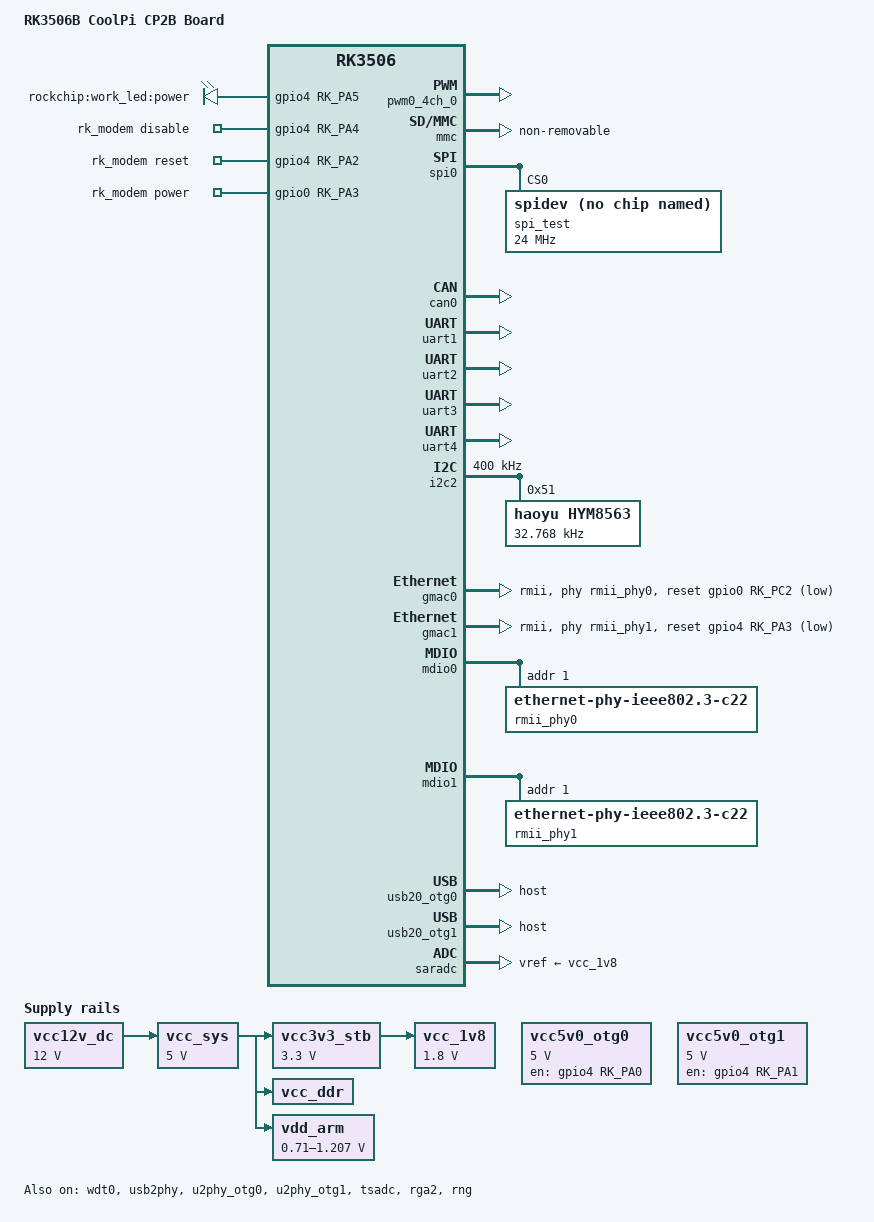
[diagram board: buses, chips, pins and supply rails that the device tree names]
// SPDX-License-Identifier: (GPL-2.0+ OR MIT)
/*
 * Copyright (c) 2024 Rockchip Electronics Co., Ltd.
 */

/dts-v1/;

#include "rk3506.dtsi"
#include <dt-bindings/display/drm_mipi_dsi.h>
#include <dt-bindings/input/rk-input.h>
#include <dt-bindings/suspend/rockchip-rk3506.h>


/ {
	model = "RK3506B CoolPi CP2B  Board";
	compatible = "rockchip,rk3506b-cp2b", "rockchip,rk3506";
	
	chosen {
		bootargs = "console=ttyFIQ0";
	};
	
	leds {
		compatible = "gpio-leds";

		red-led {
			default-state = "on";
			gpios = <&gpio4 RK_PA5 GPIO_ACTIVE_HIGH>;
			label = "rockchip:work_led:power";
			linux,default-trigger = "heartbeat";
		};
	};
	
	vcc12v_dc: vcc12v-dc {
		compatible = "regulator-fixed";
		regulator-name = "vcc12v_dc";
		regulator-always-on;
		regulator-boot-on;
		regulator-min-microvolt = <12000000>;
		regulator-max-microvolt = <12000000>;
	};

	vcc_sys: vcc-sys {
		compatible = "regulator-fixed";
		regulator-name = "vcc_sys";
		regulator-always-on;
		regulator-boot-on;
		regulator-min-microvolt = <5000000>;
		regulator-max-microvolt = <5000000>;
		vin-supply = <&vcc12v_dc>;
	};

	vcc3v3_stb: vcc3v3-stb {
		compatible = "regulator-fixed";
		regulator-name = "vcc3v3_stb";
		regulator-always-on;
		regulator-boot-on;
		regulator-min-microvolt = <3300000>;
		regulator-max-microvolt = <3300000>;
		vin-supply = <&vcc_sys>;
	};

	vcc_1v8: vcc-1v8 {
		compatible = "regulator-fixed";
		regulator-name = "vcc_1v8";
		regulator-always-on;
		regulator-boot-on;
		regulator-min-microvolt = <1800000>;
		regulator-max-microvolt = <1800000>;
		vin-supply = <&vcc3v3_stb>;
	};

	vcc_ddr: vcc-ddr {
		compatible = "regulator-fixed";
		regulator-name = "vcc_ddr";
		regulator-always-on;
		regulator-boot-on;
		vin-supply = <&vcc_sys>;
	};

	vdd_arm: vdd-arm {
		compatible = "pwm-regulator";
		pwms = <&pwm0_4ch_0 0 5000 1>;
		regulator-name = "vdd_arm";
		regulator-min-microvolt = <710000>;
		regulator-max-microvolt = <1207000>;
		regulator-init-microvolt = <1011000>;
		regulator-always-on;
		regulator-boot-on;
		regulator-settling-time-up-us = <250>;
		pwm-supply = <&vcc_sys>;
	};

	vcc5v0_otg0: vcc5v0-otg0-regulator {
		compatible = "regulator-fixed";
		regulator-name = "vcc5v0_otg0";
		regulator-min-microvolt = <5000000>;
		regulator-max-microvolt = <5000000>;
		enable-active-high;
		gpio = <&gpio4 RK_PA0 GPIO_ACTIVE_HIGH>;
	};

	vcc5v0_otg1: vcc5v0-otg1-regulator {
		compatible = "regulator-fixed";
		regulator-name = "vcc5v0_otg1";
		regulator-boot-on;
		regulator-always-on;
		regulator-min-microvolt = <5000000>;
		regulator-max-microvolt = <5000000>;
		enable-active-high;
		gpio = <&gpio4 RK_PA1 GPIO_ACTIVE_HIGH>;
	};
	
	rk_modem: rk-modem {
		compatible="4g-modem-platdata";
		pinctrl-names = "default";
		pinctrl-0 = <&lte_power_en &wifi_pwr>;
		4G,disable-gpio  = <&gpio4 RK_PA4 GPIO_ACTIVE_HIGH>;
		4G,reset-gpio    = <&gpio4 RK_PA2 GPIO_ACTIVE_HIGH>;
		4G,power-gpio    = <&gpio0 RK_PA3 GPIO_ACTIVE_HIGH>;
		status = "okay";
	};
	
	fiq_debugger: fiq-debugger {
		compatible = "rockchip,fiq-debugger";
		rockchip,serial-id = <0>;
		rockchip,wake-irq = <0>;
		rockchip,irq-mode-enable = <1>;
		rockchip,baudrate = <115200>;	/* Only 115200 and 1500000 */
		interrupts = <GIC_SPI 115 IRQ_TYPE_LEVEL_HIGH>;
	};
};

&cma {
	size = <0x800000>;
};

&cpu0 {
	cpu-supply = <&vdd_arm>;
};

&wdt0{
	status = "okay";
};

&pwm0_4ch_0 {
	pinctrl-names = "active";
	pinctrl-0 = <&rm_io21_pwm0_ch0>;
	status = "okay";
};

&mmc {
	cap-sd-highspeed;
	cap-mmc-highspeed;
	no-sd;
	no-sdio;
	pinctrl-names = "default";
	pinctrl-0 = <&sdmmc_clk_pins &sdmmc_cmd_pins &sdmmc_bus4_pins>;
	non-removable;
	mmc-hs200-1_8v;
	status = "okay";
};

&spi0 {
	status = "okay";
	max-freq = <24000000>;
	pinctrl-0 = <&rm_io8_spi0_clk &rm_io9_spi0_mosi &rm_io10_spi0_miso &rm_io11_spi0_csn0>;
	num-cs = <1>;
	
	spi_test@0 {
		compatible = "rockchip,spidev";
		reg = <0>; //片选0或者1
		spi-cpha; //设置 CPHA = 1，不配置则为 0
		spi-cpol; //设置 CPOL = 1，不配置则为 0
		spi-lsb-first; //IO 先传输 lsb
		spi-max-frequency = <24000000>; //spi clk输出的时钟
	};
};

&can0 {
	assigned-clocks = <&cru CLK_CAN0>;
	assigned-clock-rates = <300000000>;
	pinctrl-0 = <&rm_io26_can0_tx &rm_io25_can0_rx>;
	pinctrl-names = "default";
	rockchip,rx-max-data = <4>;
	status = "okay";
};

&uart1 {
	pinctrl-names = "default";
	pinctrl-0 = <&rm_io17_uart1_tx &rm_io16_uart1_rx>;
	status = "okay";
};

&uart2 {
	pinctrl-names = "default";
	pinctrl-0 = <&rm_io2_uart2_tx &rm_io0_uart2_rx>;
	status = "okay";
};

&uart3 {
	pinctrl-names = "default";
	pinctrl-0 = <&rm_io14_uart3_tx &rm_io15_uart3_rx>;
	status = "okay";
};

&uart4 {
	pinctrl-names = "default";
	pinctrl-0 = <&rm_io31_uart4_tx &rm_io30_uart4_rx>;
	status = "okay";
};

&i2c2 {
	clock-frequency = <400000>;
	pinctrl-names = "default";
	pinctrl-0 = <&rm_io4_i2c2_scl &rm_io5_i2c2_sda>;
	status = "okay";
	
	hym8563: hym8563@51 {
		compatible = "haoyu,hym8563";
		reg = <0x51>;
		#clock-cells = <0>;
		clock-frequency = <32768>;
		clock-output-names = "hym8563";
		status = "okay";
	};
};

&gmac0 {
	phy-mode = "rmii";
	clock_in_out = "output";

	snps,reset-gpio = <&gpio0 RK_PC2 GPIO_ACTIVE_LOW>;
	snps,reset-active-low;
	snps,reset-delays-us = <0 20000 100000>;

	pinctrl-names = "default";
	pinctrl-0 = <&eth_rmii0_miim_pins
		     &eth_rmii0_tx_bus2_pins
		     &eth_rmii0_rx_bus2_pins
		     &eth_rmii0_clk_pins>;

	phy-handle = <&rmii_phy0>;
	status = "okay";
};

&gmac1 {
	phy-mode = "rmii";
	clock_in_out = "output";

	snps,reset-gpio = <&gpio4 RK_PA3 GPIO_ACTIVE_LOW>;
	snps,reset-active-low;
	snps,reset-delays-us = <0 20000 100000>;

	pinctrl-names = "default";
	pinctrl-0 = <&eth_rmii1_miim_pins
		     &eth_rmii1_tx_bus2_pins
		     &eth_rmii1_rx_bus2_pins
		     &eth_rmii1_clk_pins>;

	phy-handle = <&rmii_phy1>;
	status = "okay";
};

&mdio0 {
	rmii_phy0: phy@1 {
		compatible = "ethernet-phy-ieee802.3-c22";
		reg = <0x1>;
	};
};

&mdio1 {
	rmii_phy1: phy@1 {
		compatible = "ethernet-phy-ieee802.3-c22";
		reg = <0x1>;
	};
};

&usb2phy {
	status = "okay";
};

&u2phy_otg0 {
	/* Only switch date-role manually */
	vbus-supply = <&vcc5v0_otg0>;
	status = "okay";
};

&usb20_otg0 {
	dr_mode = "host";
	status = "okay";
};

&u2phy_otg1 {
	phy-supply = <&vcc5v0_otg1>;
	status = "okay";
};

&usb20_otg1 {
	dr_mode = "host";
	status = "okay";
};

&saradc {
	vref-supply = <&vcc_1v8>;
	status = "okay";
};

&tsadc {
	status = "okay";
};

&rga2 {
	status = "okay";
};

&rng {
	status = "okay";
};

&rockchip_suspend {
	rockchip,sleep-mode-config = <
		(0
		| RKPM_ARMOFF_DDRPD
		| RKPM_24M_OSC_DIS
		| RKPM_32K_CLK
		| RKPM_32K_SRC_RC
		| RKPM_PWM0_CH0_REGULATOR
		)
	>;

	rockchip,apios-suspend = <
		(0
		| RKPM_PWREN_CORE_GPIO0A2 | RKPM_PWREN_CORE_ACT_LOW
		| RKPM_PWREN_SLEEP_GPIO0A0 | RKPM_PWREN_SLEEP_ACT_LOW
		)
	>;

#define GPIO0_IOC_GPIO0A_PULL_REG	0xff950200
#define GPIO0_IOC_GPIO0B_PULL_REG	0xff950204
#define GPIO0_IOC_GPIO0C_PULL_REG	0xff950208
#define GPIO0A3_PULL_DOWN		0x00c00080
#define GPIO0B0_PULL_DOWN		0x00030002
#define GPIO0C5_PULL_DOWN		0x0c000800

	/* Note: support max 16 pairs */
	rockchip,sleep-io-config = <
		GPIO0_IOC_GPIO0C_PULL_REG GPIO0C5_PULL_DOWN /* PWM0_CH0_CPU */
		GPIO0_IOC_GPIO0A_PULL_REG GPIO0A3_PULL_DOWN /* PWM0_CH2_LCD_BL */
		GPIO0_IOC_GPIO0B_PULL_REG GPIO0B0_PULL_DOWN /* SAI1_MCLK */
	>;
};

&pinctrl {
/*	usb {
		vcc5v0_otg0_en: vcc5v0-otg0-en {
			rockchip,pins = <4 RK_PA0 RK_FUNC_GPIO &pcfg_pull_none>;
		};

		vcc5v0_otg1_en: vcc5v0-otg1-en {
			rockchip,pins = <4 RK_PA1 RK_FUNC_GPIO &pcfg_pull_none>;
		};
	};*/
	
	rk-modem {
		lte_power_en: lte-power-en {
			rockchip,pins = <0 RK_PA3 RK_FUNC_GPIO &pcfg_pull_up>;
		};
	};
	
	wifi{
		wifi_pwr: wifi-pwr {
			rockchip,pins = <0 RK_PA1 RK_FUNC_GPIO &pcfg_output_low>;
		};
	};
};
